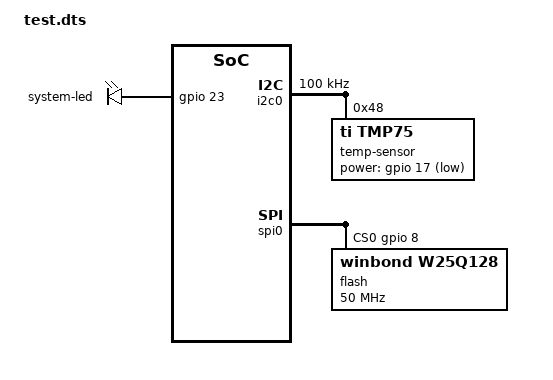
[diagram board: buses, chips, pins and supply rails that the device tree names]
/dts-v1/;

/ {
    compatible = "VirtualSoC, V1.0";
    #address-cells = <1>;
    #size-cells = <1>;

    /* 在这里添加你的节点 */
    
    /* 1. I2C控制器及温度传感器 */
    i2c0: i2c@400A0000 {
        compatible = "virtual,i2c-v1";
        reg = <0x400A0000 0x1000>;
        #address-cells = <1>;
        #size-cells = <0>;
        clock-frequency = <100000>;
        interrupts = <33 1>;

        /* 温度传感器 */
        temp-sensor@48 {
            compatible = "ti,tmp75";
            reg = <0x48>;
            power-gpios = <&gpio 17 1>;
        };
    };
    
    /* 2. SPI控制器及Flash */
    
    /* 3. GPIO控制器及LED、按键 */
    
    /* 4. 串口控制器 */
};

/dts-v1/;

/ {
    compatible = "my-virtual-board";
    #address-cells = <1>;
    #size-cells = <1>;

    /* I2C控制器 */
    i2c0: i2c@400A0000 {
        compatible = "virtual,i2c-controller";
        reg = <0x400A0000 0x1000>;
        #address-cells = <1>;
        #size-cells = <0>;
        clock-frequency = <100000>;

        /* 温度传感器 */
        temp-sensor@48 {
            compatible = "ti,tmp75";
            reg = <0x48>;
        };
    };

    /* SPI控制器 */
    spi0: spi@400B0000 {
        compatible = "virtual,spi-controller";
        reg = <0x400B0000 0x1000>;
        #address-cells = <1>;
        #size-cells = <0>;
        cs-gpios = <&gpio 8 0>;

        /* SPI Flash */
        flash@0 {
            compatible = "winbond,w25q128";
            reg = <0>;
            spi-max-frequency = <50000000>;
        };
    };

    /* GPIO LED */
    leds {
        compatible = "gpio-leds";
        led0 {
            label = "system-led";
            gpios = <&gpio 23 0>;
            default-state = "off";
        };
    };
};
1. 虚拟硬件场景设定
假设我们有一个虚拟开发板，包含以下组件：

1个I2C控制器（i2c0）

1个SPI控制器（spi0）

1个GPIO控制器

需要添加的设备：

I2C温度传感器（地址0x48，型号tmp75）

SPI Flash（型号w25q128）

LED灯（连接在GPIO23上）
